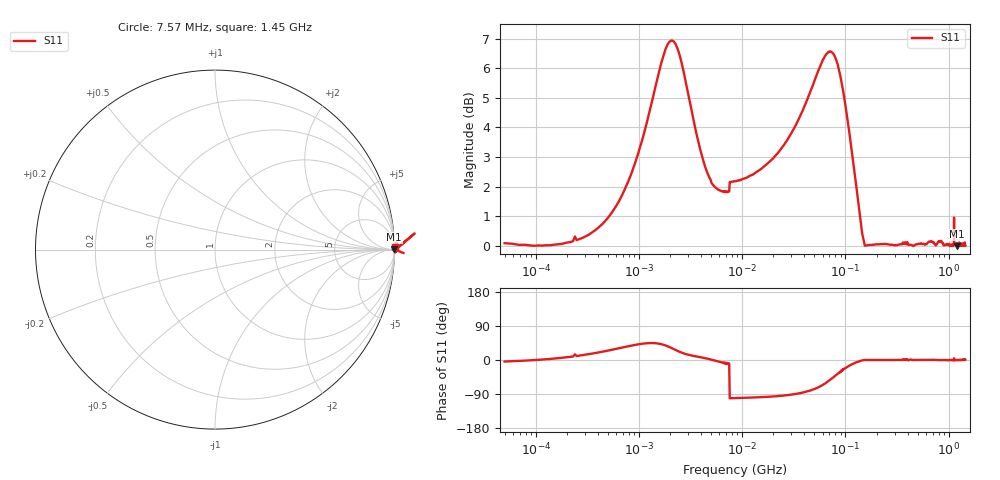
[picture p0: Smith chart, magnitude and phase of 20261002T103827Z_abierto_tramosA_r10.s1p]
! piloto_saltos / abierto_tramosA / r10
# HZ S RI R 50
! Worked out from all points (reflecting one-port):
!   501 points, 50 kHz to 1.45 GHz, reference 50 ohm
!   lowest |S11| = 0.0 dB at 1.198 GHz (marker M1)
!   phase of S11 starts at -4 deg and turns +5 deg over the sweep
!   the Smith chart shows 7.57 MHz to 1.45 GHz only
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50000  1.008 -0.0704
183000  1.003 0.1059
363500  1.009 0.3186
658000  1.021 0.6315
1180000  1.152 1.117
1630000  1.503 1.356
1990000  1.841 1.231
2440000  1.961 0.8034
3340000  1.614 0.3154
4690000  1.315 0.0697
7300000  1.219 -0.1915
7750000  -0.2397 -1.259
8560000  -0.2355 -1.263
1.81e7  -0.1688 -1.373
3.16e7  -0.0111 -1.577
4.69e7  0.3389 -1.812
5.68e7  0.6981 -1.885
6.49e7  1.048 -1.827
7.3e7  1.369 -1.627
8.47e7  1.636 -1.172
9.82e7  1.628 -0.6745
1e8  1.61 -0.6207
1.18e8  1.377 -0.2446
1.36e8  1.148 -0.0693
1.63e8  1.002 0.000833
4.06e8  1.003 -0.016
1.198e9  0.9985 0.000819
1.45e9  1.001 0.0144
